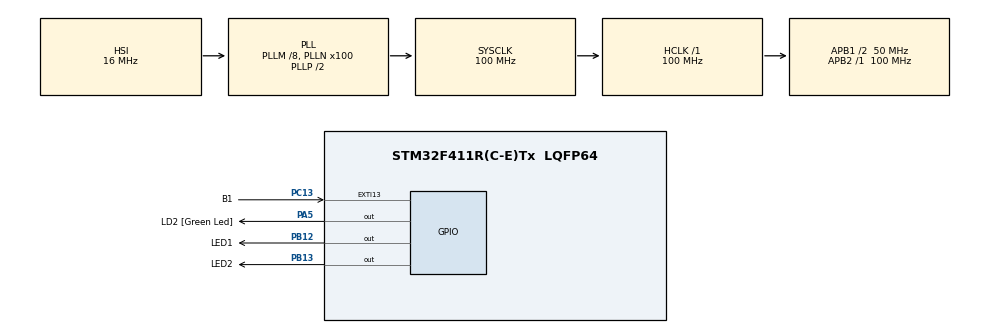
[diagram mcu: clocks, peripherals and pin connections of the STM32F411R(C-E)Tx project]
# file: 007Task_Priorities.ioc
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Mcu.Family=STM32F4
Mcu.Name=STM32F411R(C-E)Tx
Mcu.Package=LQFP64
NVIC.EXTI15_10_IRQn=true\:6\:0\:true\:false\:true\:true\:true
NVIC.PriorityGroup=NVIC_PRIORITYGROUP_4
NVIC.TIM5_IRQn=true\:0\:0\:false\:false\:true\:false\:true
NVIC.TimeBase=TIM5_IRQn
NVIC.TimeBaseIP=TIM5
PA13.GPIO_Label=TMS
PA13.Signal=SYS_JTMS-SWDIO
PA14.GPIO_Label=TCK
PA14.Signal=SYS_JTCK-SWCLK
PA2.GPIO_Label=USART_TX
PA2.Signal=USART2_TX
PA3.GPIO_Label=USART_RX
PA3.Signal=USART2_RX
PA5.GPIO_Label=LD2 [Green Led]
PA5.Signal=GPIO_Output
PB12.GPIO_Label=LED1
PB12.Signal=GPIO_Output
PB13.GPIO_Label=LED2
PB13.Signal=GPIO_Output
PB3.GPIO_Label=SWO
PB3.Signal=SYS_JTDO-SWO
PC13-ANTI_TAMP.GPIO_Label=B1
PC13-ANTI_TAMP.GPIO_ModeDefaultEXTI=GPIO_MODE_IT_FALLING
PC13-ANTI_TAMP.Signal=GPXTI13
PC14-OSC32_IN.Signal=RCC_OSC32_IN
PC15-OSC32_OUT.Signal=RCC_OSC32_OUT
PH0\ -\ OSC_IN.Signal=RCC_OSC_IN
PH1\ -\ OSC_OUT.Signal=RCC_OSC_OUT
ProjectManager.HeapSize=0x200
ProjectManager.StackSize=0x400
ProjectManager.TargetToolchain=STM32CubeIDE
RCC.48MHZClocksFreq_Value=50000000
RCC.AHBFreq_Value=100000000
RCC.APB1CLKDivider=RCC_HCLK_DIV2
RCC.APB1Freq_Value=50000000
RCC.APB1TimFreq_Value=100000000
RCC.APB2Freq_Value=100000000
RCC.APB2TimFreq_Value=100000000
RCC.CortexFreq_Value=100000000
RCC.FLatency-AdvancedSettings=FLASH_LATENCY_3
RCC.HCLKFreq_Value=100000000
RCC.HSE_VALUE=8000000
RCC.HSI_VALUE=16000000
RCC.LSE_VALUE=32768
RCC.PLLM=8
RCC.PLLN=100
RCC.SYSCLKFreq_VALUE=100000000
RCC.SYSCLKSource=RCC_SYSCLKSOURCE_PLLCLK
RCC.VCOOutputFreq_Value=200000000
VP_SYS_VS_tim5.Mode=TIM5
board=NUCLEO-F411RE

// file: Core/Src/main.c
/* USER CODE BEGIN Header */
/**
  ******************************************************************************
  * @file           : main.c
  * @brief          : Main program body
  ******************************************************************************
  * @attention
  *
  * <h2><center>&copy; Copyright (c) 2022 STMicroelectronics.
  * All rights reserved.</center></h2>
  *
  * This software component is licensed by ST under BSD 3-Clause license,
  * the "License"; You may not use this file except in compliance with the
  * License. You may obtain a copy of the License at:
  *                        opensource.org/licenses/BSD-3-Clause
  *
  ******************************************************************************
  */
/* USER CODE END Header */
#include "main.h"

/* USER CODE BEGIN Includes */
#include "FreeRTOS.h"
#include "task.h"

/* USER CODE END Includes */

/* USER CODE BEGIN PV */

#define DWT_CTRL	(*(volatile uint32_t*)0xE0001000)

volatile BaseType_t status_button = 0;

/* USER CODE END PV */

void SystemClock_Config(void);
static void MX_GPIO_Init(void);
/* USER CODE BEGIN PFP */

//void switch_priority(void);

static void led1_handler(void* parameters);
static void led2_handler(void* parameters);

extern void SEGGER_UART_init(uint32_t);

/* USER CODE END PFP */

int main(void)
{
  /* USER CODE BEGIN 1 */

	BaseType_t status;

	TaskHandle_t task1_handle;
	TaskHandle_t task2_handle;

  /* USER CODE END 1 */

  /* MCU Configuration--------------------------------------------------------*/

  /* Reset of all peripherals, Initializes the Flash interface and the Systick. */
  HAL_Init();

  /* Configure the system clock */
  SystemClock_Config();

  /* Initialize all configured peripherals */
  MX_GPIO_Init();
  /* USER CODE BEGIN 2 */

  //SEGGER_UART_init(500000);

  //Cycle count enable
    DWT_CTRL |= (1 << 0);

	SEGGER_SYSVIEW_Conf();
	SEGGER_SYSVIEW_Start();

	status = xTaskCreate(led1_handler, "LED_1_task", 200, NULL, 2, &task1_handle);

	configASSERT(status == pdPASS);

	status = xTaskCreate(led2_handler, "LED_2_task", 200, NULL, 3, &task2_handle);

	configASSERT(status == pdPASS);

	//start the freeRTOS scheduler
	 vTaskStartScheduler();

  /* USER CODE END 2 */

  /* Infinite loop */
  while (1)
  {

  }
}

void SystemClock_Config(void)
{
  RCC_OscInitTypeDef RCC_OscInitStruct = {0};
  RCC_ClkInitTypeDef RCC_ClkInitStruct = {0};

  /** Configure the main internal regulator output voltage
  */
  __HAL_RCC_PWR_CLK_ENABLE();
  __HAL_PWR_VOLTAGESCALING_CONFIG(PWR_REGULATOR_VOLTAGE_SCALE1);
  /** Initializes the RCC Oscillators according to the specified parameters
  * in the RCC_OscInitTypeDef structure.
  */
  RCC_OscInitStruct.OscillatorType = RCC_OSCILLATORTYPE_HSI;
  RCC_OscInitStruct.HSIState = RCC_HSI_ON;
  RCC_OscInitStruct.HSICalibrationValue = RCC_HSICALIBRATION_DEFAULT;
  RCC_OscInitStruct.PLL.PLLState = RCC_PLL_ON;
  RCC_OscInitStruct.PLL.PLLSource = RCC_PLLSOURCE_HSI;
  RCC_OscInitStruct.PLL.PLLM = 8;
  RCC_OscInitStruct.PLL.PLLN = 100;
  RCC_OscInitStruct.PLL.PLLP = RCC_PLLP_DIV2;
  RCC_OscInitStruct.PLL.PLLQ = 4;
  if (HAL_RCC_OscConfig(&RCC_OscInitStruct) != HAL_OK)
  {
    Error_Handler();
  }
  /** Initializes the CPU, AHB and APB buses clocks
  */
  RCC_ClkInitStruct.ClockType = RCC_CLOCKTYPE_HCLK|RCC_CLOCKTYPE_SYSCLK
                              |RCC_CLOCKTYPE_PCLK1|RCC_CLOCKTYPE_PCLK2;
  RCC_ClkInitStruct.SYSCLKSource = RCC_SYSCLKSOURCE_PLLCLK;
  RCC_ClkInitStruct.AHBCLKDivider = RCC_SYSCLK_DIV1;
  RCC_ClkInitStruct.APB1CLKDivider = RCC_HCLK_DIV2;
  RCC_ClkInitStruct.APB2CLKDivider = RCC_HCLK_DIV1;

  if (HAL_RCC_ClockConfig(&RCC_ClkInitStruct, FLASH_LATENCY_3) != HAL_OK)
  {
    Error_Handler();
  }
}

static void MX_GPIO_Init(void)
{
  GPIO_InitTypeDef GPIO_InitStruct = {0};

  /* GPIO Ports Clock Enable */
  __HAL_RCC_GPIOC_CLK_ENABLE();
  __HAL_RCC_GPIOH_CLK_ENABLE();
  __HAL_RCC_GPIOA_CLK_ENABLE();
  __HAL_RCC_GPIOB_CLK_ENABLE();

  /*Configure GPIO pin Output Level */
  HAL_GPIO_WritePin(LD2_GPIO_Port, LD2_Pin, GPIO_PIN_RESET);

  /*Configure GPIO pin Output Level */
  HAL_GPIO_WritePin(GPIOB, LED1_Pin|LED2_Pin, GPIO_PIN_RESET);

  /*Configure GPIO pin : B1_Pin */
  GPIO_InitStruct.Pin = B1_Pin;
  GPIO_InitStruct.Mode = GPIO_MODE_IT_FALLING;
  GPIO_InitStruct.Pull = GPIO_NOPULL;
  HAL_GPIO_Init(B1_GPIO_Port, &GPIO_InitStruct);

  /*Configure GPIO pins : USART_TX_Pin USART_RX_Pin */
  GPIO_InitStruct.Pin = USART_TX_Pin|USART_RX_Pin;
  GPIO_InitStruct.Mode = GPIO_MODE_AF_PP;
  GPIO_InitStruct.Pull = GPIO_NOPULL;
  GPIO_InitStruct.Speed = GPIO_SPEED_FREQ_VERY_HIGH;
  GPIO_InitStruct.Alternate = GPIO_AF7_USART2;
  HAL_GPIO_Init(GPIOA, &GPIO_InitStruct);

  /*Configure GPIO pin : LD2_Pin */
  GPIO_InitStruct.Pin = LD2_Pin;
  GPIO_InitStruct.Mode = GPIO_MODE_OUTPUT_PP;
  GPIO_InitStruct.Pull = GPIO_NOPULL;
  GPIO_InitStruct.Speed = GPIO_SPEED_FREQ_LOW;
  HAL_GPIO_Init(LD2_GPIO_Port, &GPIO_InitStruct);

  /*Configure GPIO pins : LED1_Pin LED2_Pin */
  GPIO_InitStruct.Pin = LED1_Pin|LED2_Pin;
  GPIO_InitStruct.Mode = GPIO_MODE_OUTPUT_PP;
  GPIO_InitStruct.Pull = GPIO_NOPULL;
  GPIO_InitStruct.Speed = GPIO_SPEED_FREQ_LOW;
  HAL_GPIO_Init(GPIOB, &GPIO_InitStruct);

  /* EXTI interrupt init*/
  HAL_NVIC_SetPriority(EXTI15_10_IRQn, 6, 0);
  HAL_NVIC_EnableIRQ(EXTI15_10_IRQn);

}

/* USER CODE BEGIN 4 */

void switch_priority(void)
{
	UBaseType_t p1, p2;
	xTaskHandle t1,t2,curr;

	BaseType_t switch_priority = 0;

	//interrupt handler and task try to change status_button, to guard
	//from the interrupt we use portENTER_CRITICAL and EXIT func
	portENTER_CRITICAL();
	if(status_button)
	{
		status_button = 0;
		switch_priority = 1;
	}
	portEXIT_CRITICAL();

	if(switch_priority)
	{
		t1 = xTaskGetHandle("LED_1_task");
		t2 = xTaskGetHandle("LED_2_task");

		p1 = uxTaskPriorityGet(t1);
		p2 = uxTaskPriorityGet(t2);

		curr = xTaskGetCurrentTaskHandle();

			if(curr == t1)
			{
				vTaskPrioritySet(t1, p2);
				vTaskPrioritySet(t2, p1);
			}else
			{
				vTaskPrioritySet(t2, p1);
				vTaskPrioritySet(t1, p2);
			}
	}

}

static void led1_handler(void* parameters)
{

	while(1)
	{
		HAL_GPIO_TogglePin(GPIOB, LED1_Pin);
		HAL_Delay(100);
		switch_priority();

	}
}

static void led2_handler(void* parameters)
{

	while(1)
	{
		HAL_GPIO_TogglePin(GPIOB, LED2_Pin);
		HAL_Delay(1000);
		switch_priority();
	}

}

void button_interrupt_handler(void)
{

	traceISR_ENTER();
	status_button = 1;
	traceISR_EXIT();

}

/* USER CODE END 4 */

void HAL_TIM_PeriodElapsedCallback(TIM_HandleTypeDef *htim)
{
  if (htim->Instance == TIM5) {
    HAL_IncTick();
  }
}

void Error_Handler(void)
{
}

/************************ (C) COPYRIGHT STMicroelectronics *****END OF FILE****/
